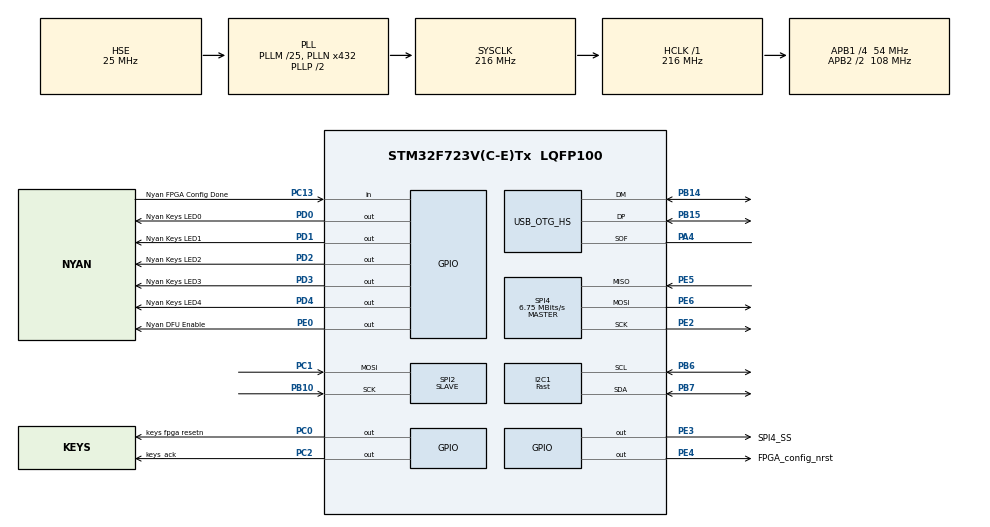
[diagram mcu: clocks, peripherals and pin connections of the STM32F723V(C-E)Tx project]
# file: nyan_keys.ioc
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AL94.I-CUBE-USBD-COMPOSITE.1.0.3.CompositeCcUSBJjCOMPOSITEJjCDCIiACM=true
AL94.I-CUBE-USBD-COMPOSITE.1.0.3.CompositeCcUSBJjCOMPOSITEJjCOMPOSITE=true
AL94.I-CUBE-USBD-COMPOSITE.1.0.3.CompositeCcUSBJjCOMPOSITEJjCore=true
AL94.I-CUBE-USBD-COMPOSITE.1.0.3.CompositeCcUSBJjCOMPOSITEJjHIDIiKEYBOARD=true
AL94.I-CUBE-USBD-COMPOSITE.1.0.3._USBD_USE_CDC_ACM=true
AL94.I-CUBE-USBD-COMPOSITE.1.0.3._USBD_USE_DFU=false
AL94.I-CUBE-USBD-COMPOSITE.1.0.3._USBD_USE_HID_CUSTOM=false
AL94.I-CUBE-USBD-COMPOSITE.1.0.3._USBD_USE_HID_KEYBOARD=true
AL94.I-CUBE-USBD-COMPOSITE.1.0.3._USBD_USE_HS=true
CORTEX_M7.CPU_DCache=Enabled
CORTEX_M7.CPU_ICache=Enabled
CORTEX_M7.PREFETCH_ENABLE=1
CORTEX_M7.default_mode_Activation=0
Dma.I2C1_RX.0.Direction=DMA_PERIPH_TO_MEMORY
Dma.I2C1_RX.0.FIFOMode=DMA_FIFOMODE_DISABLE
Dma.I2C1_RX.0.Instance=DMA1_Stream0
Dma.I2C1_RX.0.MemDataAlignment=DMA_MDATAALIGN_BYTE
Dma.I2C1_RX.0.MemInc=DMA_MINC_ENABLE
Dma.I2C1_RX.0.Mode=DMA_NORMAL
Dma.I2C1_RX.0.PeriphDataAlignment=DMA_PDATAALIGN_BYTE
Dma.I2C1_RX.0.PeriphInc=DMA_PINC_DISABLE
Dma.I2C1_RX.0.Priority=DMA_PRIORITY_MEDIUM
Dma.I2C1_TX.1.Direction=DMA_MEMORY_TO_PERIPH
Dma.I2C1_TX.1.FIFOMode=DMA_FIFOMODE_DISABLE
Dma.I2C1_TX.1.Instance=DMA1_Stream6
Dma.I2C1_TX.1.MemDataAlignment=DMA_MDATAALIGN_BYTE
Dma.I2C1_TX.1.MemInc=DMA_MINC_ENABLE
Dma.I2C1_TX.1.Mode=DMA_NORMAL
Dma.I2C1_TX.1.PeriphDataAlignment=DMA_PDATAALIGN_BYTE
Dma.I2C1_TX.1.PeriphInc=DMA_PINC_DISABLE
Dma.I2C1_TX.1.Priority=DMA_PRIORITY_MEDIUM
Dma.Request0=I2C1_RX
Dma.Request1=I2C1_TX
Dma.Request2=SPI2_RX
Dma.SPI2_RX.2.Direction=DMA_PERIPH_TO_MEMORY
Dma.SPI2_RX.2.FIFOMode=DMA_FIFOMODE_DISABLE
Dma.SPI2_RX.2.Instance=DMA1_Stream3
Dma.SPI2_RX.2.MemDataAlignment=DMA_MDATAALIGN_BYTE
Dma.SPI2_RX.2.MemInc=DMA_MINC_ENABLE
Dma.SPI2_RX.2.Mode=DMA_NORMAL
Dma.SPI2_RX.2.PeriphDataAlignment=DMA_PDATAALIGN_BYTE
Dma.SPI2_RX.2.PeriphInc=DMA_PINC_DISABLE
Dma.SPI2_RX.2.Priority=DMA_PRIORITY_VERY_HIGH
I2C1.I2C_Speed_Mode=I2C_Fast
I2C1.Speed=400
I2C1.Timing=0x6000030D
Mcu.Family=STM32F7
Mcu.Name=STM32F723V(C-E)Tx
Mcu.Package=LQFP100
NVIC.DMA1_Stream0_IRQn=true\:1\:0\:true\:false\:true\:false\:true\:true
NVIC.DMA1_Stream3_IRQn=true\:0\:0\:false\:false\:true\:false\:true\:true
NVIC.DMA1_Stream6_IRQn=true\:1\:0\:true\:false\:true\:false\:true\:true
NVIC.I2C1_ER_IRQn=true\:3\:0\:true\:false\:true\:true\:true\:true
NVIC.I2C1_EV_IRQn=true\:3\:0\:true\:false\:true\:true\:true\:true
NVIC.OTG_HS_EP1_IN_IRQn=true\:0\:0\:false\:false\:true\:true\:true\:true
NVIC.OTG_HS_EP1_OUT_IRQn=true\:0\:0\:false\:false\:true\:true\:true\:true
NVIC.OTG_HS_IRQn=true\:1\:0\:true\:false\:true\:true\:true\:true
NVIC.PriorityGroup=NVIC_PRIORITYGROUP_4
NVIC.SPI2_IRQn=true\:2\:0\:true\:false\:true\:true\:true\:true
NVIC.TIM1_CC_IRQn=true\:10\:0\:true\:false\:true\:true\:true\:true
NVIC.TIM1_TRG_COM_TIM11_IRQn=true\:0\:0\:false\:false\:true\:true\:true\:true
NVIC.TIM1_UP_TIM10_IRQn=true\:11\:0\:true\:false\:true\:true\:true\:true
NVIC.TIM6_DAC_IRQn=true\:12\:0\:true\:false\:true\:true\:true\:true
NVIC.TIM7_IRQn=true\:13\:0\:true\:false\:true\:true\:true\:true
NVIC.TIM8_CC_IRQn=true\:9\:0\:true\:false\:true\:true\:true\:true
NVIC.TIM8_TRG_COM_TIM14_IRQn=true\:0\:0\:false\:false\:true\:true\:true\:true
NVIC.TIM8_UP_TIM13_IRQn=true\:3\:0\:true\:false\:true\:true\:true\:true
PA4.Mode=Activate_SOF_FS
PA4.Signal=USB_OTG_HS_SOF
PB10.Mode=RX_Only_Simplex_Unidirect_Slave
PB10.Signal=SPI2_SCK
PB14.Mode=Internal_Phy_Device
PB14.Signal=USB_OTG_HS_DM
PB15.Mode=Internal_Phy_Device
PB15.Signal=USB_OTG_HS_DP
PB6.Mode=I2C
PB6.Signal=I2C1_SCL
PB7.Mode=I2C
PB7.Signal=I2C1_SDA
PC0.GPIO_Label=keys fpga resetn
PC0.GPIO_PuPd=GPIO_PULLDOWN
PC0.GPIO_Speed=GPIO_SPEED_FREQ_MEDIUM
PC0.PinState=GPIO_PIN_RESET
PC0.Signal=GPIO_Output
PC1.Mode=RX_Only_Simplex_Unidirect_Slave
PC1.Signal=SPI2_MOSI
PC13.GPIO_Label=Nyan FPGA Config Done
PC13.GPIO_Mode=GPIO_MODE_INPUT
PC13.GPIO_PuPd=GPIO_PULLDOWN
PC13.Signal=GPIO_Input
PC2.GPIO_Label=keys_ack
PC2.GPIO_PuPd=GPIO_PULLDOWN
PC2.GPIO_Speed=GPIO_SPEED_FREQ_VERY_HIGH
PC2.PinState=GPIO_PIN_RESET
PC2.Signal=GPIO_Output
PD0.GPIO_Label=Nyan Keys LED0
PD0.GPIO_PuPd=GPIO_PULLDOWN
PD0.GPIO_Speed=GPIO_SPEED_FREQ_VERY_HIGH
PD0.Signal=GPIO_Output
PD1.GPIO_Label=Nyan Keys LED1
PD1.GPIO_PuPd=GPIO_PULLDOWN
PD1.GPIO_Speed=GPIO_SPEED_FREQ_VERY_HIGH
PD1.Signal=GPIO_Output
PD2.GPIO_Label=Nyan Keys LED2
PD2.GPIO_PuPd=GPIO_PULLDOWN
PD2.GPIO_Speed=GPIO_SPEED_FREQ_VERY_HIGH
PD2.Signal=GPIO_Output
PD3.GPIO_Label=Nyan Keys LED3
PD3.GPIO_PuPd=GPIO_PULLDOWN
PD3.GPIO_Speed=GPIO_SPEED_FREQ_VERY_HIGH
PD3.Signal=GPIO_Output
PD4.GPIO_Label=Nyan Keys LED4
PD4.GPIO_PuPd=GPIO_PULLDOWN
PD4.GPIO_Speed=GPIO_SPEED_FREQ_VERY_HIGH
PD4.Signal=GPIO_Output
PE0.GPIO_Label=Nyan DFU Enable
PE0.GPIO_PuPd=GPIO_PULLDOWN
PE0.GPIO_Speed=GPIO_SPEED_FREQ_VERY_HIGH
PE0.Signal=GPIO_Output
PE2.Mode=Full_Duplex_Master
PE2.Signal=SPI4_SCK
PE3.GPIO_Label=SPI4_SS
PE3.GPIO_PuPd=GPIO_PULLDOWN
PE3.GPIO_Speed=GPIO_SPEED_FREQ_HIGH
PE3.Signal=GPIO_Output
PE4.GPIO_Label=FPGA_config_nrst
PE4.GPIO_PuPd=GPIO_PULLUP
PE4.GPIO_Speed=GPIO_SPEED_FREQ_MEDIUM
PE4.PinState=GPIO_PIN_SET
PE4.Signal=GPIO_Output
PE5.Mode=Full_Duplex_Master
PE5.Signal=SPI4_MISO
PE6.Mode=Full_Duplex_Master
PE6.Signal=SPI4_MOSI
PH0-OSC_IN.Mode=HSE-External-Clock-Source
PH0-OSC_IN.Signal=RCC_OSC_IN
PH1-OSC_OUT.Mode=HSE-External-Clock-Source
PH1-OSC_OUT.Signal=RCC_OSC_OUT
ProjectManager.HeapSize=0x800
ProjectManager.StackSize=0x800
ProjectManager.TargetToolchain=Makefile
RCC.AHBFreq_Value=216000000
RCC.APB1CLKDivider=RCC_HCLK_DIV4
RCC.APB1Freq_Value=54000000
RCC.APB1TimFreq_Value=108000000
RCC.APB2CLKDivider=RCC_HCLK_DIV2
RCC.APB2Freq_Value=108000000
RCC.APB2TimFreq_Value=216000000
RCC.CortexFreq_Value=216000000
RCC.HCLKFreq_Value=216000000
RCC.HSE_VALUE=25000000
RCC.HSI_VALUE=16000000
RCC.LSE_VALUE=32768
RCC.PLLM=25
RCC.PLLN=432
RCC.PLLQ=9
RCC.SYSCLKFreq_VALUE=216000000
RCC.SYSCLKSource=RCC_SYSCLKSOURCE_PLLCLK
RCC.USBFreq_Value=48000000
RCC.VCOOutputFreq_Value=432000000
REXTPHYHS.Mode=Internal_Phy_Device
REXTPHYHS.Signal=USB_OTG_HS_REXTPHYHS
SPI2.CLKPhase=SPI_PHASE_1EDGE
SPI2.CLKPolarity=SPI_POLARITY_LOW
SPI2.DataSize=SPI_DATASIZE_8BIT
SPI2.Direction=SPI_DIRECTION_2LINES_RXONLY
SPI2.FirstBit=SPI_FIRSTBIT_MSB
SPI2.Mode=SPI_MODE_SLAVE
SPI2.VirtualType=VM_SLAVE
SPI4.BaudRatePrescaler=SPI_BAUDRATEPRESCALER_16
SPI4.CalculateBaudRate=6.75 MBits/s
SPI4.DataSize=SPI_DATASIZE_8BIT
SPI4.Direction=SPI_DIRECTION_2LINES
SPI4.Mode=SPI_MODE_MASTER
SPI4.VirtualType=VM_MASTER
TIM1.AutoReloadPreload=TIM_AUTORELOAD_PRELOAD_ENABLE
TIM1.Channel-Output\ Compare1\ No\ Output=TIM_CHANNEL_1
TIM1.Channel-Output\ Compare2\ No\ Output=TIM_CHANNEL_2
TIM1.ClockDivision=TIM_CLOCKDIVISION_DIV4
TIM1.Period=256
TIM1.Prescaler=320
TIM1.Pulse-Output\ Compare1\ No\ Output=0
TIM1.Pulse-Output\ Compare2\ No\ Output=33
TIM1.TIM_MasterOutputTrigger=TIM_TRGO_RESET
TIM1.TIM_MasterOutputTrigger2=TIM_TRGO2_RESET
TIM1.TIM_MasterSlaveMode=TIM_MASTERSLAVEMODE_DISABLE
TIM14.AutoReloadPreload=TIM_AUTORELOAD_PRELOAD_ENABLE
TIM14.Period=1727
TIM14.Prescaler=62499
TIM6.Period=37
TIM6.Prescaler=16452
TIM7.AutoReloadPreload=TIM_AUTORELOAD_PRELOAD_DISABLE
TIM7.Period=11154
TIM7.Prescaler=7520
TIM7.TIM_MasterOutputTrigger=TIM_TRGO_RESET
TIM8.AutoReloadPreload=TIM_AUTORELOAD_PRELOAD_ENABLE
TIM8.Channel-Output\ Compare1\ No\ Output=TIM_CHANNEL_1
TIM8.ClockDivision=TIM_CLOCKDIVISION_DIV1
TIM8.Period=99
TIM8.Prescaler=2699
USB_OTG_HS.VirtualMode=Int_Phy_Device
USB_OTG_HS.dma_enable=ENABLE
USB_OTG_HS.speed=USB_OTG_SPEED_HIGH
VP_AL94.I-CUBE-USBD-COMPOSITE_VS_USBJjComposite_1.0.0_1.0.3.Mode=USBJjComposite
VP_RNG_VS_RNG.Mode=RNG_Activate
VP_TIM14_VS_ClockSourceINT.Mode=Enable_Timer
VP_TIM1_VS_no_output1.Mode=Output Compare1 No Output
VP_TIM1_VS_no_output2.Mode=Output Compare2 No Output
VP_TIM6_VS_ClockSourceINT.Mode=Enable_Timer
VP_TIM7_VS_ClockSourceINT.Mode=Enable_Timer
VP_TIM8_VS_ClockSourceINT.Mode=Internal
VP_TIM8_VS_no_output1.Mode=Output Compare1 No Output
board=custom

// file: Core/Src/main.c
/* USER CODE BEGIN Header */
/**
  ******************************************************************************
  * @file           : main.c
  * @brief          : Main program body
  ******************************************************************************
  * @attention
  *
  * Copyright (c) 2023 STMicroelectronics.
  * All rights reserved.
  *
  * This software is licensed under terms that can be found in the LICENSE file
  * in the root directory of this software component.
  * If no LICENSE file comes with this software, it is provided AS-IS.
  *
  ******************************************************************************
  */
/* USER CODE END Header */
#include "main.h"
#include "dma.h"
#include "i2c.h"
#include "rng.h"
#include "spi.h"
#include "tim.h"
#include "usb_otg.h"
#include "gpio.h"

/* USER CODE BEGIN Includes */
// USB Composite device support
#include "usb_device.h"
#include "usbd_cdc_acm_if.h"
#include "usbd_hid_keyboard.h"
// Nyan Keys Specific Hardware
#include "24xx_eeprom.h"
#include "iceuncompr.h"
#include "lattice_ice_hx.h"
// NyanOS and Packages
#include "nyan_os.h"
#include "nyan_health.h"
#include "nyan_leds.h"
#include "nyan_strings.h"
#include "nyan_bitcoin.h"
#include "nyan_keys.h"
#include "nyan_via.h"
/* USER CODE END Includes */

/* USER CODE BEGIN PV */
extern USBD_HandleTypeDef hUsbDevice;

// Volatile Interrupt Variables
volatile NyanOS nos;                                  // NyanOS - Main Operating System
volatile double system_status_led_angle;              // Used in the Sin^2(x) + Cos^2(x) = 1 [LED PWM]
volatile NyanKeys nyan_keys;                          // Nyan Keys FPGA Switch driver FPGA -> SPI -> STM32
volatile NyanKeyBoardDescriptor nyan_hid_report;      // Global HID Report used in the nyan keys
volatile NyanKeyBoardDescriptor nyan_hid_report_prv;  // Global HID Report used for comparison optimization

// Non-Volatile Globals
Eeprom24xx   nos_eeprom;   // 24xx Based EEPROM
Iceuncompr   ice_uncompr;  // Decompression agent - FPGA Bitstream
LatticeIceHX nos_fpga;     // Lattice ICE40HX4k FPGA driver
NyanBitcoin  nyan_bitcoin; // Nyan Keys Background Bitcoin Miner
/* USER CODE END PV */

void SystemClock_Config(void);

int main(void)
{

  /* Enable I-Cache---------------------------------------------------------*/
  SCB_EnableICache();

  /* Enable D-Cache---------------------------------------------------------*/
  SCB_EnableDCache();

  /* MCU Configuration--------------------------------------------------------*/

  /* Reset of all peripherals, Initializes the Flash interface and the Systick. */
  HAL_Init();

  /* USER CODE BEGIN Init */
  EepromInit(&nos_eeprom, true, true);

  /* USER CODE END Init */

  /* Configure the system clock */
  SystemClock_Config();

  /* Initialize all configured peripherals */
  MX_GPIO_Init();
  MX_DMA_Init();
  MX_SPI2_Init();
  MX_SPI4_Init();
  MX_I2C1_Init();
  MX_TIM7_Init();
  MX_TIM6_Init();
  MX_TIM1_Init();
  MX_RNG_Init();
  MX_TIM8_Init();
  MX_TIM14_Init();
  MX_USB_OTG_HS_PCD_Init();
  /* USER CODE BEGIN 2 */
  NyanHealthInit();                    // Watchdog + reset cause - everything below must feed it within NYAN_WATCHDOG_TIMEOUT_MS
  // Activate the STM32F7 timer interrupts
  HAL_TIM_Base_Start_IT(&htim1);
  HAL_TIM_Base_Start_IT(&htim7);
  HAL_TIM_Base_Start_IT(&htim6);
  HAL_TIM_Base_Start_IT(&htim14);
  HAL_TIM_OC_Start_IT(&htim1, TIM_CHANNEL_1);
  HAL_TIM_OC_Start_IT(&htim1, TIM_CHANNEL_2);
  HAL_TIM_OC_Start_IT(&htim8, TIM_CHANNEL_1);
  // USB composite device creation
  MX_USB_DEVICE_Init();
  NyanOsInit(&nos);                    // NyanOS (NOS) Initialization
  NyanViaInit();                       // VIA dynamic keymap - load from EEPROM or program factory defaults (before FPGAInit: VIA works even if the FPGA never configures)
  FPGAInit((LatticeIceHX*)&nos_fpga);  // FPGA Bitstream Loading
  NyanKeysInit((NyanKeys*)&nyan_keys); // Load up the fast cat IP for access to your keys; happy typing.
#ifdef BITCOIN_MINER_EN
  NyanBitcoinInit(&nyan_bitcoin);     // Load up the bitcoin miner, comment this out or delete to disable.
#endif
  bool keys_started = false;
  uint32_t fpga_retry_ms = HAL_GetTick();
  /* USER CODE END 2 */

  /* Infinite loop */
  /* USER CODE BEGIN WHILE */
  while (1)
  {
    NyanWatchdogFeed();
    NyanViaProcess(); // Handle any pending VIA raw HID command (main loop context)
    NyanOsProcess(&nos); // Console: parse input, run commands and uploads, send output
    NyanKeysSaveSettings((NyanKeys*)&nyan_keys); // Persist an FN + WIN toggle made in the key frame IRQ
    NyanKeysSendPendingReport(); // Queue a key change that arrived while the HID endpoint was busy

    if (nos.dfu_mode) {
      HAL_GPIO_WritePin(Nyan_DFU_Enable_GPIO_Port, Nyan_DFU_Enable_Pin, GPIO_PIN_SET);
      // Charge the BOOT0 capacitor - keep flushing the console meanwhile
      uint32_t dfu_start = HAL_GetTick();
      while ((HAL_GetTick() - dfu_start) < 1000U) {
        NyanWatchdogFeed();
        NyanCdcTX(&nos);
      }
      NVIC_SystemReset();
    }

    if (nos_fpga.reconfigure_requested) {
      // A new bitstream was written: stop the keys (all reported released),
      // let that report go out, then reload the FPGA
      nos_fpga.reconfigure_requested = false;
      if (keys_started) {
        keys_started = false;
        NyanKeysStop((NyanKeys*)&nyan_keys);
        uint32_t flush_start = HAL_GetTick();
        while (nyan_keys.report_pending && (HAL_GetTick() - flush_start) < 20U)
          NyanKeysSendPendingReport();
      }
      FPGAInit(&nos_fpga);
      fpga_retry_ms = HAL_GetTick();
    } else if (!keys_started) {
      if (nos_fpga.configured) {
        keys_started = true;
        NyanKeysStart((NyanKeys*)&nyan_keys);
      } else if ((HAL_GetTick() - fpga_retry_ms) >= 2000U) {
        // FPGA configuration is retried in the background - paced so that a board
        // whose FPGA never configures keeps full USB/VIA/CDC responsiveness
        // (FPGAInit blocks for seconds while it reloads the bitstream).
        FPGAInit(&nos_fpga);
        fpga_retry_ms = HAL_GetTick(); // pace from the END of the attempt so the main loop gets service time between retries
      }
    }
    /* USER CODE END WHILE */
  }
}

void SystemClock_Config(void)
{
  RCC_OscInitTypeDef RCC_OscInitStruct = {0};
  RCC_ClkInitTypeDef RCC_ClkInitStruct = {0};

  /** Configure the main internal regulator output voltage
  */
  __HAL_RCC_PWR_CLK_ENABLE();
  __HAL_PWR_VOLTAGESCALING_CONFIG(PWR_REGULATOR_VOLTAGE_SCALE1);

  /** Initializes the RCC Oscillators according to the specified parameters
  * in the RCC_OscInitTypeDef structure.
  */
  RCC_OscInitStruct.OscillatorType = RCC_OSCILLATORTYPE_HSE;
  RCC_OscInitStruct.HSEState = RCC_HSE_BYPASS;
  RCC_OscInitStruct.PLL.PLLState = RCC_PLL_ON;
  RCC_OscInitStruct.PLL.PLLSource = RCC_PLLSOURCE_HSE;
  RCC_OscInitStruct.PLL.PLLM = 25;
  RCC_OscInitStruct.PLL.PLLN = 432;
  RCC_OscInitStruct.PLL.PLLP = RCC_PLLP_DIV2;
  RCC_OscInitStruct.PLL.PLLQ = 9;
  if (HAL_RCC_OscConfig(&RCC_OscInitStruct) != HAL_OK)
  {
    Error_Handler();
  }

  /** Activate the Over-Drive mode
  */
  if (HAL_PWREx_EnableOverDrive() != HAL_OK)
  {
    Error_Handler();
  }

  /** Initializes the CPU, AHB and APB buses clocks
  */
  RCC_ClkInitStruct.ClockType = RCC_CLOCKTYPE_HCLK|RCC_CLOCKTYPE_SYSCLK
                              |RCC_CLOCKTYPE_PCLK1|RCC_CLOCKTYPE_PCLK2;
  RCC_ClkInitStruct.SYSCLKSource = RCC_SYSCLKSOURCE_PLLCLK;
  RCC_ClkInitStruct.AHBCLKDivider = RCC_SYSCLK_DIV1;
  RCC_ClkInitStruct.APB1CLKDivider = RCC_HCLK_DIV4;
  RCC_ClkInitStruct.APB2CLKDivider = RCC_HCLK_DIV2;

  if (HAL_RCC_ClockConfig(&RCC_ClkInitStruct, FLASH_LATENCY_7) != HAL_OK)
  {
    Error_Handler();
  }
}

/* USER CODE BEGIN 4 */
/**
 * Build and queue the HID report for the latest key state, but only once the
 * keyboard endpoint is idle. USBD_HID_Keyboard_SendReport() silently drops a
 * report while the previous one is in flight (and the endpoint reads the
 * buffer at transmit time), so a change is kept pending until it can be sent.
 * Caller must keep the key frame IRQ from running concurrently.
 */
static void NyanKeysTrySendReport(void)
{
  USBD_HID_Keyboard_HandleTypeDef *hhid = (USBD_HID_Keyboard_HandleTypeDef *)hUsbDevice.pClassData_HID_Keyboard;

  if(!nyan_keys.report_pending || hhid == NULL ||
     hUsbDevice.dev_state != USBD_STATE_CONFIGURED || hhid->state != KEYBOARD_HID_IDLE)
    return;

  NyanBuildHidReportFromKeyStates((NyanKeys*)&nyan_keys, &nyan_hid_report);
  nyan_keys.report_pending = false;
  USBD_HID_Keyboard_SendReport(&hUsbDevice, (uint8_t*)&nyan_hid_report, sizeof(nyan_hid_report));
}

// Key frame interrupt context: a validated (and already acked) frame arrived
void NyanKeysFrameCallback(NyanKeys *keys)
{
  HAL_GPIO_WritePin(GPIOD, Nyan_Keys_LED1_Pin, GPIO_PIN_SET);
  // Increase the performance counter (frames per second)
  nos.perf_keys_count_spi_calls_nxt++;
  // Periodic refresh frames repeat the same state - only report changes
  if(memcmp((uint8_t*)&keys->key_states[0], (uint8_t*)&keys->key_states_prv[0], sizeof(keys->key_states)) != 0) {
    memcpy((uint8_t*)&keys->key_states_prv[0], (uint8_t*)&keys->key_states[0], sizeof(keys->key_states));
    keys->report_pending = true;
  }
  NyanKeysTrySendReport();
  HAL_GPIO_WritePin(GPIOD, Nyan_Keys_LED1_Pin, GPIO_PIN_RESET);
}

// Main loop context: retry a report that could not be queued from the IRQ
void NyanKeysSendPendingReport(void)
{
  if(!nyan_keys.report_pending)
    return;
  HAL_NVIC_DisableIRQ(DMA1_Stream3_IRQn);
  NyanKeysTrySendReport();
  HAL_NVIC_EnableIRQ(DMA1_Stream3_IRQn);
}

void HAL_I2C_MemTxCpltCallback(I2C_HandleTypeDef *I2cHandle)
{
  nos_eeprom.tx_inflight = false;
}

void HAL_I2C_MemRxCpltCallback(I2C_HandleTypeDef *I2cHandle)
{
  nos_eeprom.rx_inflight = false;
}

void HAL_SPI_ErrorCallback(SPI_HandleTypeDef *hspi)
{
  MX_SPI2_Init(); //Upon error in the SPI transmission; reset the SPI2 instance.
}

void HAL_I2C_ErrorCallback(I2C_HandleTypeDef *I2cHandle)
{
  // NAK, bus error, arbitration loss, ... - the EEPROM driver recovers the bus and retries
  nos_eeprom.error = true;
}

void HAL_TIM_PeriodElapsedCallback(TIM_HandleTypeDef *htim)
{
  if (htim->Instance == TIM1) {
    HAL_GPIO_WritePin(GPIOD, Nyan_Keys_LED4_Pin, GPIO_PIN_SET);
    nos_fpga.configured = HAL_GPIO_ReadPin(Nyan_FPGA_Config_Done_GPIO_Port, Nyan_FPGA_Config_Done_Pin);
    // FPGA configuration done indicator
    if(nos_fpga.configured)
      HAL_GPIO_WritePin(Nyan_Keys_LED0_GPIO_Port, Nyan_Keys_LED0_Pin, GPIO_PIN_SET);
    else
      HAL_GPIO_WritePin(Nyan_Keys_LED0_GPIO_Port, Nyan_Keys_LED0_Pin, GPIO_PIN_RESET);
  } if (htim->Instance == TIM6) {
    // Increment the power on pulsing LED angle [sin^2(x) + cos^2(x) = 1]
    system_status_led_angle += SYSTEM_STATUS_DEGREE_INCREMENT;
  } if (htim->Instance == TIM7) {
    // Welcome MoTD guarding from double displays
    if(nos.send_welcome_screen_guard > 0 && ++nos.send_welcome_screen_guard > _NYAN_WELCOME_GUARD_TIME) {
      nos.send_welcome_screen_guard = 0;
    }
  } if (htim->Instance == TIM14) {
    // 1 second period timer. Used for performance metrics
    nos.perf_keys_count_spi_calls = nos.perf_keys_count_spi_calls_nxt;
    nos.perf_keys_count_spi_calls_nxt = 0;
  }
}

void HAL_TIM_OC_DelayElapsedCallback(TIM_HandleTypeDef *htim)
{
  if (htim->Instance == TIM1) {
    if (htim->Channel == HAL_TIM_ACTIVE_CHANNEL_1) {
      // Pulse the SystemStatus LED off
      HAL_GPIO_WritePin(Nyan_Keys_LED4_GPIO_Port, Nyan_Keys_LED4_Pin, GPIO_PIN_RESET);
      // Now lets set the new capture compare register value.
      unsigned char cc_val = getSystemStatusOCRValue(system_status_led_angle);
      __HAL_TIM_SET_COMPARE(htim, TIM_CHANNEL_1, (unsigned int)cc_val);
      __HAL_TIM_SET_COMPARE(htim, TIM_CHANNEL_2, (unsigned int)cc_val);
    }
    if (htim->Channel == HAL_TIM_ACTIVE_CHANNEL_2) {
      HAL_GPIO_WritePin(Nyan_Keys_LED0_GPIO_Port, Nyan_Keys_LED0_Pin, GPIO_PIN_RESET);
    }
  }
  if (htim->Instance == TIM8) {
    // The console itself runs in the main loop (NyanOsProcess)
    // Turn off the RX CDC LED
    HAL_GPIO_WritePin(Nyan_Keys_LED3_GPIO_Port, Nyan_Keys_LED3_Pin, GPIO_PIN_RESET);
  }
}
/* USER CODE END 4 */

void Error_Handler(void)
{
  /* USER CODE BEGIN Error_Handler_Debug */
  // Record the caller for getinfo, turn on all LEDs and reset Nyan Keys
  NyanFaultRecord(NULL, NYAN_FAULT_ERROR_HANDLER, (uint32_t)__builtin_return_address(0));
  /* USER CODE END Error_Handler_Debug */
}

#ifdef  USE_FULL_ASSERT
/**
  * @brief  Reports the name of the source file and the source line number
  *         where the assert_param error has occurred.
  * @param  file: pointer to the source file name
  * @param  line: assert_param error line source number
  * @retval None
  */
void assert_failed(uint8_t *file, uint32_t line)
{
  /* USER CODE BEGIN 6 */
  /* User can add his own implementation to report the file name and line number,
     example: printf("Wrong parameters value: file %s on line %d\r\n", file, line) */
  /* USER CODE END 6 */
}
#endif /* USE_FULL_ASSERT */
